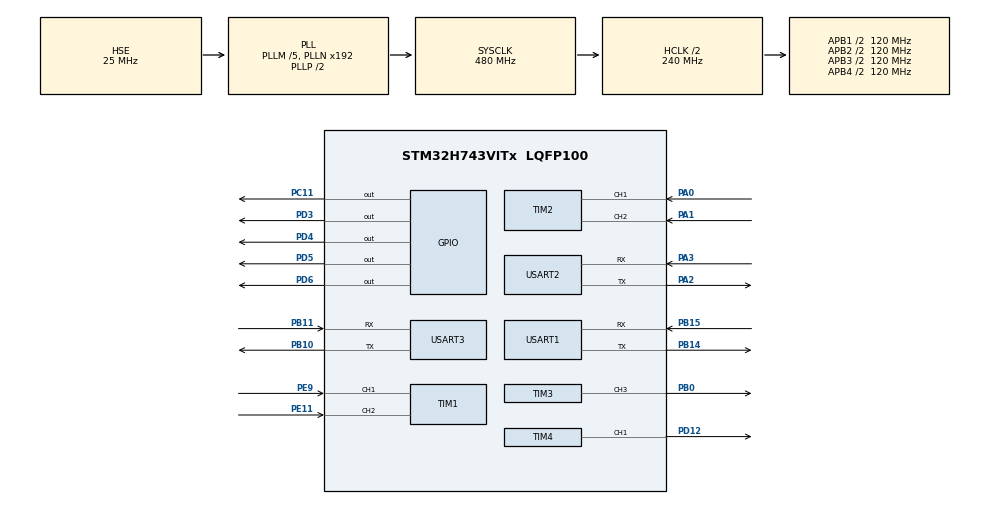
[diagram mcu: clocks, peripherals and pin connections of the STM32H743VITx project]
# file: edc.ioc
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CORTEX_M7.AccessPermission-Cortex_Memory_Protection_Unit_Region0_Settings=MPU_REGION_FULL_ACCESS
CORTEX_M7.AccessPermission-Cortex_Memory_Protection_Unit_Region1_Settings=MPU_REGION_FULL_ACCESS
CORTEX_M7.AccessPermission-Cortex_Memory_Protection_Unit_Region2_Settings=MPU_REGION_FULL_ACCESS
CORTEX_M7.AccessPermission-Cortex_Memory_Protection_Unit_Region3_Settings=MPU_REGION_FULL_ACCESS
CORTEX_M7.AccessPermission-Cortex_Memory_Protection_Unit_Region4_Settings=MPU_REGION_FULL_ACCESS
CORTEX_M7.BaseAddress-Cortex_Memory_Protection_Unit_Region0_Settings=0x24000000
CORTEX_M7.BaseAddress-Cortex_Memory_Protection_Unit_Region1_Settings=0x30000000
CORTEX_M7.BaseAddress-Cortex_Memory_Protection_Unit_Region2_Settings=0x30020000
CORTEX_M7.BaseAddress-Cortex_Memory_Protection_Unit_Region3_Settings=0x30040000
CORTEX_M7.BaseAddress-Cortex_Memory_Protection_Unit_Region4_Settings=0x38000000
CORTEX_M7.CPU_DCache=Enabled
CORTEX_M7.CPU_ICache=Enabled
CORTEX_M7.Enable-Cortex_Memory_Protection_Unit_Region0_Settings=MPU_REGION_ENABLE
CORTEX_M7.Enable-Cortex_Memory_Protection_Unit_Region1_Settings=MPU_REGION_ENABLE
CORTEX_M7.Enable-Cortex_Memory_Protection_Unit_Region2_Settings=MPU_REGION_ENABLE
CORTEX_M7.Enable-Cortex_Memory_Protection_Unit_Region3_Settings=MPU_REGION_ENABLE
CORTEX_M7.Enable-Cortex_Memory_Protection_Unit_Region4_Settings=MPU_REGION_ENABLE
CORTEX_M7.IsBufferable-Cortex_Memory_Protection_Unit_Region0_Settings=MPU_ACCESS_BUFFERABLE
CORTEX_M7.IsCacheable-Cortex_Memory_Protection_Unit_Region0_Settings=MPU_ACCESS_CACHEABLE
CORTEX_M7.MPU_Control=MPU_PRIVILEGED_DEFAULT
CORTEX_M7.Size-Cortex_Memory_Protection_Unit_Region0_Settings=MPU_REGION_SIZE_512KB
CORTEX_M7.Size-Cortex_Memory_Protection_Unit_Region1_Settings=MPU_REGION_SIZE_128KB
CORTEX_M7.Size-Cortex_Memory_Protection_Unit_Region2_Settings=MPU_REGION_SIZE_128KB
CORTEX_M7.Size-Cortex_Memory_Protection_Unit_Region3_Settings=MPU_REGION_SIZE_32KB
CORTEX_M7.Size-Cortex_Memory_Protection_Unit_Region4_Settings=MPU_REGION_SIZE_64KB
CORTEX_M7.TypeExtField-Cortex_Memory_Protection_Unit_Region0_Settings=MPU_TEX_LEVEL1
CORTEX_M7.TypeExtField-Cortex_Memory_Protection_Unit_Region1_Settings=MPU_TEX_LEVEL1
CORTEX_M7.TypeExtField-Cortex_Memory_Protection_Unit_Region2_Settings=MPU_TEX_LEVEL1
CORTEX_M7.TypeExtField-Cortex_Memory_Protection_Unit_Region3_Settings=MPU_TEX_LEVEL1
CORTEX_M7.TypeExtField-Cortex_Memory_Protection_Unit_Region4_Settings=MPU_TEX_LEVEL1
Mcu.Family=STM32H7
Mcu.Name=STM32H743VITx
Mcu.Package=LQFP100
NVIC.PriorityGroup=NVIC_PRIORITYGROUP_4
NVIC.TIM7_IRQn=true\:0\:0\:false\:false\:true\:true\:true\:true
NVIC.USART1_IRQn=true\:0\:0\:true\:false\:true\:true\:true\:true
NVIC.USART2_IRQn=true\:0\:0\:true\:false\:true\:true\:true\:true
NVIC.USART3_IRQn=true\:0\:0\:false\:false\:true\:true\:true\:true
PA0.Signal=S_TIM2_CH1_ETR
PA1.Signal=S_TIM2_CH2
PA13\ (JTMS/SWDIO).Mode=Serial_Wire
PA13\ (JTMS/SWDIO).Signal=DEBUG_JTMS-SWDIO
PA14\ (JTCK/SWCLK).Mode=Serial_Wire
PA14\ (JTCK/SWCLK).Signal=DEBUG_JTCK-SWCLK
PA2.Mode=Asynchronous
PA2.Signal=USART2_TX
PA3.Mode=Asynchronous
PA3.Signal=USART2_RX
PB0.Signal=S_TIM3_CH3
PB10.Mode=Asynchronous
PB10.Signal=USART3_TX
PB11.Mode=Asynchronous
PB11.Signal=USART3_RX
PB14.Mode=Asynchronous
PB14.Signal=USART1_TX
PB15.Mode=Asynchronous
PB15.Signal=USART1_RX
PC11.GPIO_PuPd=GPIO_PULLUP
PC11.PinState=GPIO_PIN_RESET
PC11.Signal=GPIO_Output
PD12.Signal=S_TIM4_CH1
PD3.Signal=GPIO_Output
PD4.Signal=GPIO_Output
PD5.Signal=GPIO_Output
PD6.Signal=GPIO_Output
PE11.Signal=S_TIM1_CH2
PE9.Signal=S_TIM1_CH1
PH0-OSC_IN\ (PH0).Mode=HSE-External-Oscillator
PH0-OSC_IN\ (PH0).Signal=RCC_OSC_IN
PH1-OSC_OUT\ (PH1).Mode=HSE-External-Oscillator
PH1-OSC_OUT\ (PH1).Signal=RCC_OSC_OUT
ProjectManager.HeapSize=0x10000
ProjectManager.StackSize=0x7400
ProjectManager.TargetToolchain=MDK-ARM V5.32
RCC.ADCFreq_Value=50390625
RCC.APB1Freq_Value=120000000
RCC.APB2Freq_Value=120000000
RCC.APB3Freq_Value=120000000
RCC.APB4Freq_Value=120000000
RCC.CortexFreq_Value=480000000
RCC.D1PPRE=RCC_APB3_DIV2
RCC.D2PPRE1=RCC_APB1_DIV2
RCC.D2PPRE2=RCC_APB2_DIV2
RCC.D3PPRE=RCC_APB4_DIV2
RCC.DIVM1=5
RCC.DIVN1=192
RCC.HCLKFreq_Value=240000000
RCC.HPRE=RCC_HCLK_DIV2
RCC.PLLSourceVirtual=RCC_PLLSOURCE_HSE
RCC.ProductRev=revV
RCC.SYSCLKFreq_VALUE=480000000
RCC.SYSCLKSource=RCC_SYSCLKSOURCE_PLLCLK
RCC.USBFreq_Value=480000000
SH.S_TIM1_CH1.0=TIM1_CH1,Encoder_Interface
SH.S_TIM1_CH2.0=TIM1_CH2,Encoder_Interface
SH.S_TIM2_CH1_ETR.0=TIM2_CH1,Encoder_Interface
SH.S_TIM2_CH2.0=TIM2_CH2,Encoder_Interface
SH.S_TIM3_CH3.0=TIM3_CH3,PWM Generation3 CH3
SH.S_TIM4_CH1.0=TIM4_CH1,PWM Generation1 CH1
TIM1.IC1Filter=10
TIM2.IC1Filter=15
TIM2.IC2Filter=15
TIM3.Channel-PWM\ Generation3\ CH3=TIM_CHANNEL_3
TIM3.Period=1000-1
TIM3.Prescaler=24-1
TIM4.Channel-PWM\ Generation1\ CH1=TIM_CHANNEL_1
TIM4.Period=1000-1
TIM4.Prescaler=24-1
TIM4.Pulse-PWM\ Generation1\ CH1=500
TIM7.Prescaler=239
USART1.VirtualMode-Asynchronous=VM_ASYNC
USART2.VirtualMode-Asynchronous=VM_ASYNC
USART3.VirtualMode-Asynchronous=VM_ASYNC
VP_TIM3_VS_ClockSourceINT.Mode=Internal
VP_TIM4_VS_ClockSourceINT.Mode=Internal
VP_TIM7_VS_ClockSourceINT.Mode=Enable_Timer
board=custom

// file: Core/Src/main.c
/* USER CODE BEGIN Header */
/**
  ******************************************************************************
  * @file           : main.c
  * @brief          : Main program body
  ******************************************************************************
  * @attention
  *
  * Copyright (c) 2025 STMicroelectronics.
  * All rights reserved.
  *
  * This software is licensed under terms that can be found in the LICENSE file
  * in the root directory of this software component.
  * If no LICENSE file comes with this software, it is provided AS-IS.
  *
  ******************************************************************************
  */
/* USER CODE END Header */
#include "main.h"
#include "tim.h"
#include "usart.h"
#include "gpio.h"

/* USER CODE BEGIN Includes */
#include <string.h>
#include <stdio.h>
#include "Mem.h"
#include "Hall_Encoder.h"
#include "tb6612fng.h"

#include "xunxian_delay.h"
#include "app_usart2.h"
/* USER CODE END Includes */

/* USER CODE BEGIN PTD */

//These are the value of the changing value between two sampling time point,
//meaningt that they are not the speed the value in real world.

/* USER CODE END PTD */

/* USER CODE BEGIN PV */
Mem l, r;
char message[100];
extern u8 g_new_package_flag;
uint8_t Rx2_Temp; // 用于接收USART2数据的临时变量
int detect_flag = 0; //用于判断是否已经检测到目标
/* USER CODE END PV */

void SystemClock_Config(void);
static void MPU_Initialize(void);
static void MPU_Config(void);

int main(void)
{

  /* Enable I-Cache---------------------------------------------------------*/
  SCB_EnableICache();

  /* Enable D-Cache---------------------------------------------------------*/
  SCB_EnableDCache();

  /* MCU Configuration--------------------------------------------------------*/

  /* Reset of all peripherals, Initializes the Flash interface and the Systick. */
  HAL_Init();

  /* MPU Configuration--------------------------------------------------------*/
  MPU_Config();

  /* Configure the system clock */
  SystemClock_Config();

  /* Initialize all configured peripherals */
  MX_GPIO_Init();
  MX_TIM7_Init();
  MX_USART1_UART_Init();
  MX_TIM1_Init();
  MX_TIM2_Init();
  MX_TIM4_Init();
  MX_TIM3_Init();
  MX_USART2_UART_Init();
  MX_USART3_UART_Init();
  /* USER CODE BEGIN 2 */

	EncoderInit(&htim2, TIM_CHANNEL_1, TIM_CHANNEL_2, &htim7);
	EncoderInit(&htim1, TIM_CHANNEL_1, TIM_CHANNEL_2, &htim7);
	Motor Left, Right;//Define the structures that control left motor and right motor
	MotorInit(&Left, GPIOD, GPIO_PIN_3, GPIOD, GPIO_PIN_4,  &htim4, TIM_CHANNEL_1, 0);
	MotorInit(&Right, GPIOD, GPIO_PIN_5, GPIOD, GPIO_PIN_6,  &htim3, TIM_CHANNEL_3, 0);
	//Please goto tb6612fng.c and tb6612fng.h to see the usage and defination of motor functions and structure
	//While using this function,
	//please connect PD3 to AIN2, PD4 to AIN1, PD5 to BIN2, PD6 to BIN1,
	//PD12 to PWMA and PB0 to PWMB to make deriction right.
	MemInit(&l, 100, 1, &huart1);

	//等待红外稳定
	HAL_Delay(1000);
	//八路巡线器开始工作
	//send_control_data(0,0,1);
	HAL_UART_Receive_IT(&huart3, &Rx2_Temp, 1);
	HAL_UART_Transmit(&huart3, (uint8_t *)"$0,0,1#", 7, HAL_MAX_DELAY);
	MotorSet(FOR, 500, &Left);
	MotorSet(FOR, 500, &Right);
	HAL_UART_Receive_IT(&huart3, &Rx2_Temp, 1);

  /* USER CODE END 2 */

  /* Infinite loop */
  /* USER CODE BEGIN WHILE */
  while (1)
  {
	/*
		Codes below are test codes.
		Test the ability of direction and speed control.
		Every sentence has its test ability. So you can add "//" before them to debug.
		Exchange the Left to Right to test the right motor.
	*/

		/*MotorSet(FOR, 999, &Left);
		HAL_Delay(1000);
		sprintf(message, "left speed:%f", getSpeed(0));
		HAL_UART_Transmit(&huart1, (uint8_t *) message, strlen(message), 100);
		sprintf(message, "right speed:%f", getSpeed(1));
		HAL_UART_Transmit(&huart1, (uint8_t *) message, strlen(message), 100);
		MotorSet(SLIDE, 999, &Right);
		HAL_Delay(1000);
		MotorSet(BACK, 500, &Right);
		HAL_Delay(1000);
		MotorSet(BREAK, 999, &Right);
		HAL_Delay(1000);*/

		if(g_new_package_flag == 1 && detect_flag == 0)
		{
			g_new_package_flag = 0;
			Deal_Usart_Data();
			sprintf(message,"x1:%d,x2:%d,x3:%d,x4:%d,x5:%d,x6:%d,x7:%d,x8:%d\r\n",IR_Data_number[0],IR_Data_number[1],IR_Data_number[2],IR_Data_number[3],IR_Data_number[4],IR_Data_number[5],IR_Data_number[6],IR_Data_number[7]);
			HAL_UART_Transmit(&huart1,(uint8_t *)message, strlen(message), HAL_MAX_DELAY);
		for(int i=0; i<8; i++ && detect_flag == 0){
			if(IR_Data_number[i] == 0){
			//MotorSet(BREAK,0,&Right);
			//MotorSet(BREAK,0,&Left);
			MotorSet(FOR,0,&Right);
			MotorSet(FOR,0,&Left);
			HAL_UART_Transmit(&huart1,(uint8_t *)"----Detected----\n\n", strlen("----Detected----\n\n"), HAL_MAX_DELAY);
			HAL_GPIO_TogglePin(GPIOC, GPIO_PIN_11);
			HAL_Delay(1000);
			HAL_GPIO_TogglePin(GPIOC, GPIO_PIN_11);
			detect_flag = 1;
			break;
			}
		}
	}
    /* USER CODE END WHILE */

    /* USER CODE BEGIN 3 */
  }
	MemOut(&l);
	destoryMem(&l);
  /* USER CODE END 3 */
}

void SystemClock_Config(void)
{
  RCC_OscInitTypeDef RCC_OscInitStruct = {0};
  RCC_ClkInitTypeDef RCC_ClkInitStruct = {0};

  /** Supply configuration update enable
  */
  HAL_PWREx_ConfigSupply(PWR_LDO_SUPPLY);

  /** Configure the main internal regulator output voltage
  */
  __HAL_PWR_VOLTAGESCALING_CONFIG(PWR_REGULATOR_VOLTAGE_SCALE1);

  while(!__HAL_PWR_GET_FLAG(PWR_FLAG_VOSRDY)) {}

  __HAL_RCC_SYSCFG_CLK_ENABLE();
  __HAL_PWR_VOLTAGESCALING_CONFIG(PWR_REGULATOR_VOLTAGE_SCALE0);

  while(!__HAL_PWR_GET_FLAG(PWR_FLAG_VOSRDY)) {}

  /** Initializes the RCC Oscillators according to the specified parameters
  * in the RCC_OscInitTypeDef structure.
  */
  RCC_OscInitStruct.OscillatorType = RCC_OSCILLATORTYPE_HSE;
  RCC_OscInitStruct.HSEState = RCC_HSE_ON;
  RCC_OscInitStruct.PLL.PLLState = RCC_PLL_ON;
  RCC_OscInitStruct.PLL.PLLSource = RCC_PLLSOURCE_HSE;
  RCC_OscInitStruct.PLL.PLLM = 5;
  RCC_OscInitStruct.PLL.PLLN = 192;
  RCC_OscInitStruct.PLL.PLLP = 2;
  RCC_OscInitStruct.PLL.PLLQ = 2;
  RCC_OscInitStruct.PLL.PLLR = 2;
  RCC_OscInitStruct.PLL.PLLRGE = RCC_PLL1VCIRANGE_2;
  RCC_OscInitStruct.PLL.PLLVCOSEL = RCC_PLL1VCOWIDE;
  RCC_OscInitStruct.PLL.PLLFRACN = 0;
  if (HAL_RCC_OscConfig(&RCC_OscInitStruct) != HAL_OK)
  {
    Error_Handler();
  }

  /** Initializes the CPU, AHB and APB buses clocks
  */
  RCC_ClkInitStruct.ClockType = RCC_CLOCKTYPE_HCLK|RCC_CLOCKTYPE_SYSCLK
                              |RCC_CLOCKTYPE_PCLK1|RCC_CLOCKTYPE_PCLK2
                              |RCC_CLOCKTYPE_D3PCLK1|RCC_CLOCKTYPE_D1PCLK1;
  RCC_ClkInitStruct.SYSCLKSource = RCC_SYSCLKSOURCE_PLLCLK;
  RCC_ClkInitStruct.SYSCLKDivider = RCC_SYSCLK_DIV1;
  RCC_ClkInitStruct.AHBCLKDivider = RCC_HCLK_DIV2;
  RCC_ClkInitStruct.APB3CLKDivider = RCC_APB3_DIV2;
  RCC_ClkInitStruct.APB1CLKDivider = RCC_APB1_DIV2;
  RCC_ClkInitStruct.APB2CLKDivider = RCC_APB2_DIV2;
  RCC_ClkInitStruct.APB4CLKDivider = RCC_APB4_DIV2;

  if (HAL_RCC_ClockConfig(&RCC_ClkInitStruct, FLASH_LATENCY_4) != HAL_OK)
  {
    Error_Handler();
  }
}

/* USER CODE BEGIN 4 */
// ...existing code...
double gr(void)
{
	return getSpeed(0);
}
void HAL_TIM_PeriodElapsedCallback(TIM_HandleTypeDef *htim)
{
  UpdateAllSpeed(htim);
	MemSet(&l, gr);
}

void HAL_UART_RxCpltCallback(UART_HandleTypeDef *huart)
{
    // 判断中断是否来自USART3
    if (huart->Instance == USART3)
    {
        // 此时，接收到的一个字节数据已经由HAL库自动存入了Rx2_Temp变量中
        // 调用您的数据处理函数
        Deal_IR_Usart(Rx2_Temp);

        // 【关键】必须再次调用HAL_UART_Receive_IT()函数，以准备下一次的数据接收
        HAL_UART_Receive_IT(&huart3, &Rx2_Temp, 1);
    }
}
// ...existing code...
/* USER CODE END 4 */

/* MPU Configuration */

void MPU_Config(void)
{
  MPU_Region_InitTypeDef MPU_InitStruct = {0};

  /* Disables the MPU */
  HAL_MPU_Disable();

  /** Initializes and configures the Region and the memory to be protected
  */
  MPU_InitStruct.Enable = MPU_REGION_ENABLE;
  MPU_InitStruct.Number = MPU_REGION_NUMBER0;
  MPU_InitStruct.BaseAddress = 0x24000000;
  MPU_InitStruct.Size = MPU_REGION_SIZE_512KB;
  MPU_InitStruct.SubRegionDisable = 0x0;
  MPU_InitStruct.TypeExtField = MPU_TEX_LEVEL1;
  MPU_InitStruct.AccessPermission = MPU_REGION_FULL_ACCESS;
  MPU_InitStruct.DisableExec = MPU_INSTRUCTION_ACCESS_ENABLE;
  MPU_InitStruct.IsShareable = MPU_ACCESS_NOT_SHAREABLE;
  MPU_InitStruct.IsCacheable = MPU_ACCESS_CACHEABLE;
  MPU_InitStruct.IsBufferable = MPU_ACCESS_BUFFERABLE;

  HAL_MPU_ConfigRegion(&MPU_InitStruct);

  /** Initializes and configures the Region and the memory to be protected
  */
  MPU_InitStruct.Number = MPU_REGION_NUMBER1;
  MPU_InitStruct.BaseAddress = 0x30000000;
  MPU_InitStruct.Size = MPU_REGION_SIZE_128KB;
  MPU_InitStruct.IsCacheable = MPU_ACCESS_NOT_CACHEABLE;
  MPU_InitStruct.IsBufferable = MPU_ACCESS_NOT_BUFFERABLE;

  HAL_MPU_ConfigRegion(&MPU_InitStruct);

  /** Initializes and configures the Region and the memory to be protected
  */
  MPU_InitStruct.Number = MPU_REGION_NUMBER2;
  MPU_InitStruct.BaseAddress = 0x30020000;

  HAL_MPU_ConfigRegion(&MPU_InitStruct);

  /** Initializes and configures the Region and the memory to be protected
  */
  MPU_InitStruct.Number = MPU_REGION_NUMBER3;
  MPU_InitStruct.BaseAddress = 0x30040000;
  MPU_InitStruct.Size = MPU_REGION_SIZE_32KB;

  HAL_MPU_ConfigRegion(&MPU_InitStruct);

  /** Initializes and configures the Region and the memory to be protected
  */
  MPU_InitStruct.Number = MPU_REGION_NUMBER4;
  MPU_InitStruct.BaseAddress = 0x38000000;
  MPU_InitStruct.Size = MPU_REGION_SIZE_64KB;

  HAL_MPU_ConfigRegion(&MPU_InitStruct);
  /* Enables the MPU */
  HAL_MPU_Enable(MPU_PRIVILEGED_DEFAULT);

}

void Error_Handler(void)
{
  __disable_irq();
  while (1)
  {
  }
}
